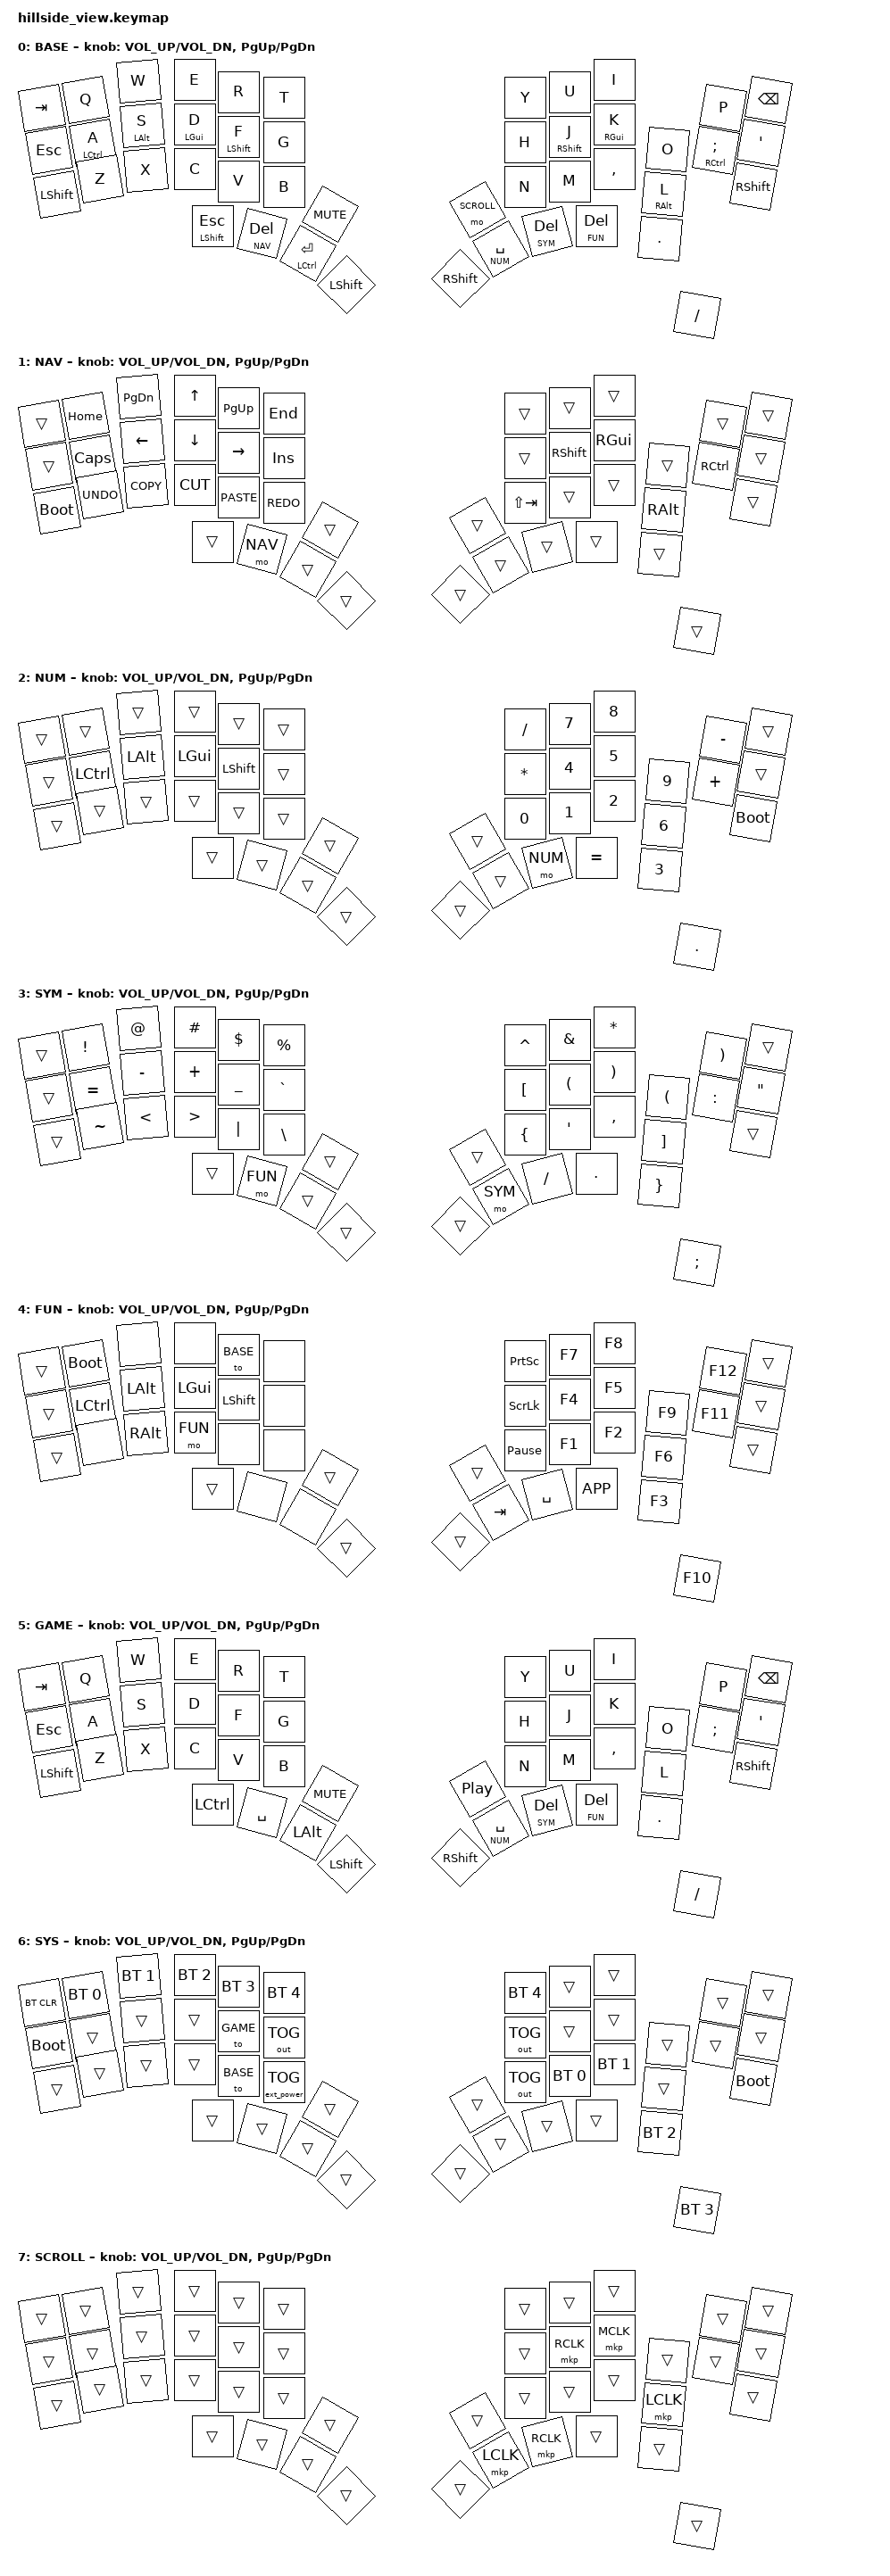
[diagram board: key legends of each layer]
/*
 * Hillside View 46-key keymap with Miryoku-inspired layout
 * Home row mods with urob's timing
 * Copyright (c) 2022 The ZMK Contributors
 * SPDX-License-Identifier: MIT
 */

#include <zmk-helpers/helper.h>
#include <zmk-helpers/key-labels/hillside46.h>
#include <behaviors.dtsi>
#include <behaviors/mouse_keys.dtsi>
#include <dt-bindings/zmk/keys.h>
#include <dt-bindings/zmk/bt.h>
#include <dt-bindings/zmk/outputs.h>
#include <dt-bindings/zmk/ext_power.h>
#include <dt-bindings/zmk/mouse.h>

// Layer definitions
#define BASE 0
#define NAV 1
#define NUM 2
#define SYM 3
#define FUN 4
#define GAME 5
#define SYS 6
#define SCROLL 7

// Key position groups for positional hold-tap (46-key Hillside View layout)
// See: https://github.com/urob/zmk-helpers/blob/main/include/zmk-helpers/key-labels/hillside46.h
// Left hand: 19 keys (3 rows × 6 cols + 1 extra)
#define KEYS_L LT5 LT4 LT3 LT2 LT1 LT0 LM5 LM4 LM3 LM2 LM1 LM0 LB5 LB4 LB3 LB2 LB1 LB0 LH4
// Right hand: 19 keys (3 rows × 6 cols + 1 extra)
#define KEYS_R RT0 RT1 RT2 RT3 RT4 RT5 RM0 RM1 RM2 RM3 RM4 RM5 RH4 RB0 RB1 RB2 RB3 RB4 RB5
// Thumb keys: 8 keys (4 per side)
#define THUMBS LH3 LH2 LH1 LH0 RH0 RH1 RH2 RH3

/ {
    behaviors {
        // Home row mods - left hand (urob's timing)
        hml: homerow_mods_left {
            compatible = "zmk,behavior-hold-tap";
            #binding-cells = <2>;
            flavor = "balanced";
            tapping-term-ms = <280>;
            quick-tap-ms = <175>;
            require-prior-idle-ms = <150>;
            bindings = <&kp>, <&kp>;
            hold-trigger-key-positions = <KEYS_R THUMBS>;
            hold-trigger-on-release;
        };

        // Home row mods - right hand (urob's timing)
        hmr: homerow_mods_right {
            compatible = "zmk,behavior-hold-tap";
            #binding-cells = <2>;
            flavor = "balanced";
            tapping-term-ms = <280>;
            quick-tap-ms = <175>;
            require-prior-idle-ms = <150>;
            bindings = <&kp>, <&kp>;
            hold-trigger-key-positions = <KEYS_L THUMBS>;
            hold-trigger-on-release;
        };

        // Tap-dance for num: tap=sticky layer, double-tap=toggle
        num_dance: num_dance {
            compatible = "zmk,behavior-tap-dance";
            #binding-cells = <0>;
            tapping-term-ms = <200>;
            bindings = <&sl NUM>, <&tog NUM>;
        };

        // Smart-num: hold=momentary NUM, tap=num_dance
        smart_num: smart_num {
            compatible = "zmk,behavior-hold-tap";
            #binding-cells = <2>;
            flavor = "balanced";
            tapping-term-ms = <200>;
            quick-tap-ms = <175>;
            bindings = <&mo>, <&num_dance>;
        };
    };

    combos {
        compatible = "zmk,combos";

        // Combo to access SYS layer (Q + Z on left side)
        combo_sys {
            timeout-ms = <50>;
            key-positions = <LT4 LB4>; // Q + Z positions
            bindings = <&mo SYS>;
            layers = <BASE GAME>;
        };
    };

    conditional_layers {
        compatible = "zmk,conditional-layers";

        // SYM + FUN held together activates SYS layer
        tri_layer {
            if-layers = <SYM FUN>;
            then-layer = <SYS>;
        };
    };

    keymap {
        compatible = "zmk,keymap";

        // BASE LAYER - QWERTY with urob's home row mods (CAGS order)
        base_layer {
            display-name = "BASE";
            // ----------------------------------------------------------------------------------------------------------
            // |  TAB |  Q  |  W  |  E  |  R  |  T  |                             |  Y  |  U   |  I  |  O  |  P  | BKSP |
            // | ESC  | CTRL| ALT | GUI |SHFT |  G  |                             |  H  |SHFT  | GUI | ALT | CTRL|  '   |
            //        |  A  |  S  |  D  |  F  |     |                             |     |  J   |  K  |  L  |  ;  |      |
            // | SHFT |  Z  |  X  |  C  |  V  |  B  |                             |  N  |  M   |  ,  |  .  |  /  | SHFT |
            //                                      |  MUTE  |           |  PP   |
            //                          | ESC | NAV | TAB | LSHFT |  | RSHFT | SYM | NUM | FUN |
            //                          |     | RET |     |       |  |       | SPC | BSP | DEL |
            bindings = <
&kp TAB    &kp Q          &kp W        &kp E         &kp R         &kp T                                   &kp Y         &kp U           &kp I         &kp O        &kp P            &kp BSPC
&kp ESC    &hml LCTRL A   &hml LALT S  &hml LGUI D   &hml LSHFT F  &kp G                                   &kp H         &hmr RSHFT J    &hmr RGUI K   &hmr RALT L  &hmr RCTRL SEMI  &kp SQT
&kp LSHFT  &kp Z          &kp X        &kp C         &kp V         &kp B                                   &kp N         &kp M           &kp COMMA     &kp DOT      &kp FSLH         &kp RSHFT
                                                                          &kp C_MUTE            &mo SCROLL
                          &mt LSHFT ESC &lt NAV DEL  &mt LCTRL RET &kp LSHFT                     &kp RSHFT &lt NUM SPACE &lt SYM DEL      &lt FUN DEL
            >;
            sensor-bindings = <&inc_dec_kp C_VOL_UP C_VOL_DN &inc_dec_kp PG_UP PG_DN>;
        };

        // NAV LAYER - Navigation (one-handed LEFT side, ESDF arrows)
        nav_layer {
            display-name = "NAV";
            bindings = <
&trans       &kp HOME   &kp PG_DN  &kp UP     &kp PG_UP   &kp END                               &trans         &trans     &trans    &trans    &trans     &trans
&trans       &kp CAPS   &kp LEFT   &kp DOWN   &kp RIGHT   &kp INS                               &trans         &kp RSHFT  &kp RGUI  &kp RALT  &kp RCTRL  &trans
&bootloader  &kp K_UNDO &kp K_COPY &kp K_CUT  &kp K_PASTE &kp K_REDO                            &kp LS(TAB)    &trans     &trans    &trans    &trans     &trans
                                                                   &trans              &trans
                        &trans     &mo NAV    &trans      &trans                        &trans  &trans         &trans     &trans
            >;
            sensor-bindings = <&inc_dec_kp C_VOL_UP C_VOL_DN &inc_dec_kp PG_UP PG_DN>;
        };

        // NUM LAYER - Number pad (one-handed right side, urob's design)
        num_layer {
            display-name = "NUM";
            bindings = <
&trans  &trans     &trans    &trans    &trans     &trans                                 &kp FSLH  &kp N7  &kp N8  &kp N9  &kp MINUS   &trans
&trans  &kp LCTRL  &kp LALT  &kp LGUI  &kp LSHFT  &trans                                 &kp STAR  &kp N4  &kp N5  &kp N6  &kp PLUS    &trans
&trans  &trans     &trans    &trans    &trans     &trans                                 &kp N0    &kp N1  &kp N2  &kp N3  &kp DOT     &bootloader
                                                         &trans                 &trans
                   &trans    &trans    &trans     &trans                         &trans  &trans    &mo NUM &kp EQUAL
            >;
            sensor-bindings = <&inc_dec_kp C_VOL_UP C_VOL_DN &inc_dec_kp PG_UP PG_DN>;
        };

        // SYM LAYER - Symbols (Traditional number row + Python/JS optimized)
        sym_layer {
            display-name = "SYM";
            bindings = <
&trans  &kp EXCL   &kp AT    &kp HASH  &kp DLLR  &kp PRCNT                              &kp CARET &kp AMPS  &kp ASTRK &kp LPAR  &kp RPAR  &trans
&trans  &kp EQUAL  &kp MINUS &kp PLUS  &kp UNDER &kp GRAVE                              &kp LBKT  &kp LPAR  &kp RPAR  &kp RBKT  &kp COLON &kp DQT
&trans  &kp TILDE  &kp LT    &kp GT    &kp PIPE  &kp BSLH                               &kp LBRC  &kp SQT   &kp COMMA &kp RBRC  &kp SEMI  &trans
                                                          &trans               &trans
                   &trans    &mo FUN   &trans    &trans                         &trans  &mo SYM   &kp FSLH  &kp DOT
            >;
            sensor-bindings = <&inc_dec_kp C_VOL_UP C_VOL_DN &inc_dec_kp PG_UP PG_DN>;
        };

        // FUN LAYER - Function keys (Miryoku flipped: right hand function keys)
        fun_layer {
            display-name = "FUN";
            bindings = <
&trans  &bootloader &none     &none      &to BASE   &none                              &kp PSCRN        &kp F7     &kp F8     &kp F9     &kp F12  &trans
&trans  &kp LCTRL   &kp LALT  &kp LGUI   &kp LSHFT  &none                              &kp SLCK         &kp F4     &kp F5     &kp F6     &kp F11  &trans
&trans  &none       &kp RALT  &mo FUN    &none      &none                              &kp PAUSE_BREAK  &kp F1     &kp F2     &kp F3     &kp F10  &trans
                                                           &trans              &trans
                    &trans    &none      &none      &trans                      &trans &kp TAB          &kp SPACE  &kp K_APP
            >;
            sensor-bindings = <&inc_dec_kp C_VOL_UP C_VOL_DN &inc_dec_kp PG_UP PG_DN>;
        };

        // GAME LAYER - Gaming mode (no home row mods, instant key response)
        game_layer {
            display-name = "GAME";
            // Q+Z combo opens SYS layer to toggle back to BASE
            bindings = <
&kp TAB    &kp Q      &kp W      &kp E      &kp R      &kp T                                   &kp Y         &kp U        &kp I         &kp O        &kp P         &kp BSPC
&kp ESC    &kp A      &kp S      &kp D      &kp F      &kp G                                   &kp H         &kp J        &kp K         &kp L        &kp SEMI      &kp SQT
&kp LSHFT  &kp Z      &kp X      &kp C      &kp V      &kp B                                   &kp N         &kp M        &kp COMMA     &kp DOT      &kp FSLH      &kp RSHFT
                                                              &kp C_MUTE            &kp C_PP
                      &kp LCTRL  &kp SPACE  &kp LALT   &kp LSHFT                     &kp RSHFT &lt NUM SPACE &lt SYM DEL      &lt FUN DEL
            >;
            sensor-bindings = <&inc_dec_kp C_VOL_UP C_VOL_DN &inc_dec_kp PG_UP PG_DN>;
        };

        // SYS LAYER - System controls (activated by SYM + FUN or Q+Z combo)
        sys_layer {
            display-name = "SYS";
            bindings = <
&bt BT_CLR   &bt BT_SEL 0  &bt BT_SEL 1  &bt BT_SEL 2  &bt BT_SEL 3  &bt BT_SEL 4                    &bt BT_SEL 4  &trans          &trans          &trans          &trans       &trans
&bootloader  &trans        &trans        &trans        &to GAME      &out OUT_TOG                    &out OUT_TOG  &trans          &trans          &trans          &trans       &trans
&trans       &trans        &trans        &trans        &to BASE      &ext_power EP_TOG               &out OUT_TOG  &bt BT_SEL 0    &bt BT_SEL 1    &bt BT_SEL 2    &bt BT_SEL 3 &bootloader
                                                                                  &trans      &trans
                           &trans        &trans        &trans        &trans                   &trans &trans        &trans          &trans
            >;
            sensor-bindings = <&inc_dec_kp C_VOL_UP C_VOL_DN &inc_dec_kp PG_UP PG_DN>;
        };

        // SCROLL LAYER - Trackpad becomes scroll wheel (hold key to activate)
        scroll_layer {
            display-name = "SCROLL";
            bindings = <
&trans       &trans        &trans        &trans        &trans        &trans                          &trans        &trans          &trans          &trans          &trans       &trans
&trans       &trans        &trans        &trans        &trans        &trans                          &trans        &mkp RCLK       &mkp MCLK       &mkp LCLK       &trans       &trans
&trans       &trans        &trans        &trans        &trans        &trans                          &trans        &trans          &trans          &trans          &trans       &trans
                                                                                  &trans      &trans
                           &trans        &trans        &trans        &trans                   &trans &mkp LCLK     &mkp RCLK       &trans
            >;
            sensor-bindings = <&inc_dec_kp C_VOL_UP C_VOL_DN &inc_dec_kp PG_UP PG_DN>;
        };
    };
};
